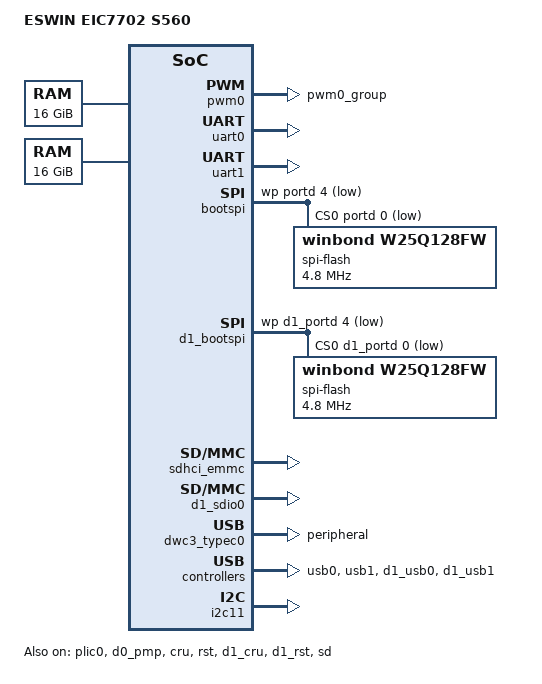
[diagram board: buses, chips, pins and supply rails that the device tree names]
// SPDX-License-Identifier: GPL-2.0
/*
 * Device Tree file for Eswin EIC7700 SoC.
 *
 * Copyright 2024, Beijing ESWIN Computing Technology Co., Ltd.. All rights reserved.
 * SPDX-License-Identifier: GPL-2.0
 *
 * This program is free software: you can redistribute it and/or modify
 * it under the terms of the GNU General Public License as published by
 * the Free Software Foundation, version 2.
 *
 * This program is distributed in the hope that it will be useful,
 * but WITHOUT ANY WARRANTY; without even the implied warranty of
 * MERCHANTABILITY or FITNESS FOR A PARTICULAR PURPOSE.  See the
 * GNU General Public License for more details.
 *
 * You should have received a copy of the GNU General Public License
 * along with this program.  If not, see <https://www.gnu.org/licenses/>.
 */

#include <dt-bindings/gpio/gpio.h>
#include <dt-bindings/soc/eswin-pmp.h>
#include "eic770x.dtsi"
#include "dt-bindings/media/eswin_mipi_dsi.h"
#include "media_bus_format.h"
/ {
	#address-cells = <2>;
	#size-cells = <2>;
	model = "ESWIN EIC7702 S560";

	chosen {
		stdout-path = "serial0";
	};

	memory@80000000 {
		device_type = "memory";
		reg = <0x0 0x80000000 0x4 0x00000000>;
		numa-node-id = <0>;
	};

	memory@2000000000 {
		device_type = "memory";
		reg = <0x20 0x00000000 0x4 0x00000000>;
		numa-node-id = <1>;
	};

	reserved-memory {
		#address-cells = <2>;
		#size-cells = <2>;
		ranges;

		display_reserved: region@E0000000 {
			reg = <0x0 0xE0000000 0x0 0x2000000>;
			no-map;
		};

		lpcpu_reserved: lpcpures@DFFE0000 {
			reg = <0x00 0xDFFE0000 0x00 0x00020000>;
			no-map;
		};

		d1_display_reserved: region@20e0000000 {
			reg = <0x20 0xE0000000 0x0 0x2000000>;
			no-map;
		};
	};

	soc {
		#address-cells = <2>;
		#size-cells = <2>;
		compatible = "SiFive,FU800-soc", "fu800-soc", "sifive-soc", "simple-bus";
		ranges;

		pwm0: pwm@50818000 {
			compatible = "eswin,pwm-eswin";
			#pwm-cells = <3>;
			reg = <0x0 0x50818000 0x0 0x4000>;
			clock-names = "pclk";
			clocks = <&spiclk>;
			pinctrl-names = "default";
			pinctrl-0 = <&pinctrl_pwm0_default>;
			status = "okay";
		};
	};
};
&cpu0 {
	status = "okay";
};
&cpu1 {
	status = "okay";
};
&cpu2 {
	status = "okay";
};
&cpu3 {
	status = "okay";
};
&cpu4 {
	status = "okay";
};
&cpu5 {
	status = "okay";
};
&cpu6 {
	status = "okay";
};
&cpu7 {
	status = "okay";
};
&plic0{
	status = "okay";
};
&d0_mbox {
	status = "okay";
};
&d0_mbox_srvc {
	status = "okay";
};
&d0_mbox1 {
	status = "okay";
};
&d0_mbox_srvc1 {
	status = "okay";
};
&d1_mbox1 {
	status = "okay";
};
&d1_mbox_srvc1 {
	status = "okay";
};
&d0_pmp {
	status = "okay";
};
&uart0 {
	status = "okay";
};
&uart1 {
	status = "okay";
};
&cru {
	status = "okay";
};
&rst {
	status = "okay";
};
&d1_cru {
	status = "okay";
};
&d1_rst {
	status = "okay";
};
&bootspi {
	status = "okay";
	cs-gpios = <&portd 0 GPIO_ACTIVE_LOW>;
	wp-gpios = <&portd 4 GPIO_ACTIVE_LOW>;
	spi-flash@0 {
		reg = <0>;
		compatible = "winbond,w25q128fw",
			"jedec,spi-nor";
		spi-max-frequency = <4800000>;
	};
};

&d1_bootspi{
	status = "okay";
	cs-gpios = <&d1_portd 0 GPIO_ACTIVE_LOW>;
	wp-gpios = <&d1_portd 4 GPIO_ACTIVE_LOW>;
	spi-flash@0 {
		reg = <0>;
		compatible = "winbond,w25q128fw",
			"jedec,spi-nor";
		spi-max-frequency = <4800000>;
	};
};

&sdhci_emmc {
	status = "okay";
	delay_code = <0x50>;
	drive-impedance-ohm = <33>;
	enable-cmd-pullup;
	enable-data-pullup;
	mmc-hs200-1_8v;
	mmc-hs400-1_8v;
};

&sd {
	status = "okay";
	delay_code = <0x55>;
	drive-impedance-ohm = <33>;
	enable-cmd-pullup;
	enable-data-pullup;
};

&d1_sdhci_emmc {
	status = "disabled";
	delay_code = <0x55>;
	drive-impedance-ohm = <50>;
	enable-cmd-pullup;
	enable-data-pullup;
	mmc-hs200-1_8v;
	mmc-hs400-1_8v;
};

&d1_sdio0 {
        status = "okay";
        delay_code = <0x29>;
        drive-impedance-ohm = <33>;
        enable-cmd-pullup;
        enable-data-pullup;
        pinctrl-names = "default";
        pinctrl-0 = <&pinctrl_die1_gpio13_default>;
        rst-gpios = <&d1_porta 13 GPIO_ACTIVE_HIGH>;
};


&dwc3_typec0 {
		status = "okay";
		dr_mode = "peripheral";
		maximum-speed = "super-speed";
};

&usb0 {
	status = "okay";
	pinctrl-names = "default";
	pinctrl-0 = <&pinctrl_gpio42_default>;
	pwren-gpios = <&portb 10 GPIO_ACTIVE_HIGH>;
};

&usb1 {
	status = "okay";
	pinctrl-names = "default";
	pinctrl-0 = <&pinctrl_gpio14_default>;
	hub-rst-gpios = <&porta 14 GPIO_ACTIVE_HIGH>;
};

&d1_usb0 {
	status = "okay";
	pinctrl-names = "default";
	pinctrl-0 = <&pinctrl_die1_gpio42_default>;
	pwren-gpios = <&d1_portb 10 GPIO_ACTIVE_HIGH>;
};

&d1_usb1 {
	status = "okay";
	pinctrl-names = "default";
	pinctrl-0 = <&pinctrl_die1_gpio43_default>;
	pwren-gpios = <&d1_portb 11 GPIO_ACTIVE_HIGH>;
};

&i2c0 {
	status = "disabled";
};
&i2c2 {
	status = "disabled";
};
&i2c3 {
	status = "disabled";
};
&i2c11 {
	status = "okay";
};

/*
	gpio function unused
	group A: gpio1~6,12~15, 17~27, 29~31
	group B: gpio32~63
	group C: gpio64~93, 95
	group D: gpio96~105

	gpio0   : head phone plug/unplug detection0(I)
	gpio7   : led back light power on/off(O)
	gpio8   : dsi touch interrupt(I)
	gpio9   : pcie present(I)
	gpio10  : software define key input(I)
	gpio11  : head phone plug/unplug detection2(I)
	gpio16  : gphy1 resern(O)
	gpio28  : head phone plug/unplug detection1(I)
	gpio94  : gphy0 resern(O)
	gpio106 : pcie socket power on/off(O)
	gpio107 : tf card power on/off(O)
	gpio108 : system led0(O)
	gpio109 : system led1(O)
	gpio110 : system led2(O)
	gpio111 : mipi dsi resetn(O)
*/

&gpio0 {
	status = "okay";
};

&d1_gpio {
	status = "okay";
};

&pinctrl {
	status = "okay";
	pinctrl_pwm0_default: pwm0-default {
		mux {
			groups = "pwm0_group";
			function = "pwm0_func";
		};
		conf {
			groups = "pwm0_group";
			input-enable = <0>;
			bias-pull-down = <1>;
			drive-strength = <2>;
		};
    };
};

&d1_pinctrl {
	status = "okay";
};
